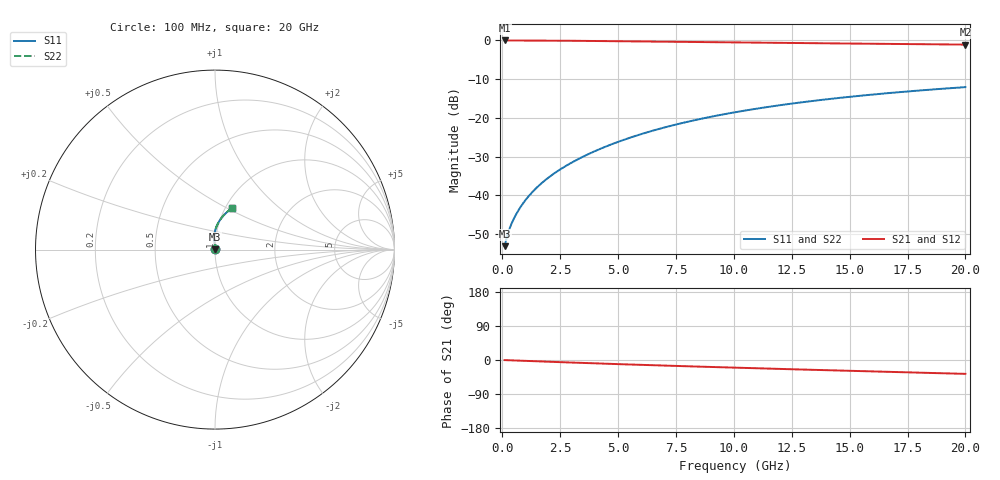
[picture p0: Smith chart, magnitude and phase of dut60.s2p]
! Touchstone file exported from HFSS 2024.1.0
!  File:  C:/UserFiles/LocalFiles/RDL_TSV_Batchsim/temp_RDL_bottom_60_1778693358.aedt
!  Generated:  01:31:47 AM May 14, 2026
!  Design:  RDL_bottom
!  Project:  temp_RDL_bottom_60_1778693358
!  Setup:  Setup1
!  Solution:  Sweep
! Variables:
!  dtsv = 10.80580581um
!  hbump = 3um
!  htsv = 70.57um
!  ldown = 581.9um
!  lrdl = 100um
!  p = 40
!  p1 = 46.62um
!  rhole = 1um
!  t = 450um
!  tdown = 4.29um
!  trdl = 3.915915916um
!  wdown = 28.77um
!  wrdl = 20um
# GHz S MA R 50.000000
! Terminal data exported
! Port[1] = RDL1_T1
! Port[2] = RDL1_T2
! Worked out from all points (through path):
!   200 points, 100 MHz to 20 GHz, reference 50 ohm
!   highest |S21| = -0.02 dB at 100 MHz (marker M1); lowest = -1.1 dB at 20 GHz (marker M2)
!   group delay of S21, straight-line fit = 4.99 ps
!   lowest |S11| = -53.1 dB at 100 MHz (marker M3), VSWR 1.00, Z = 50.2 + j0.108 ohm
!   |S11| at or under -10 dB: start of sweep to end of sweep
!   |S22| runs from -53.1 to -12.1 dB; largest |S21 - S12| = 2e-15
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0.1  0.002203 29.2  0.9981 -0.2  0.9981 -0.2  0.002203 29.2
! Gamma 0 0 0 0
! Port Impedance 50 0 50 0
0.2  0.00291 43.8  0.9978 -0.5  0.9978 -0.5  0.00291 43.8
0.3  0.003621 51.7  0.9976 -0.7  0.9976 -0.7  0.003621 51.7
0.4  0.00431 57.4  0.9974 -0.9  0.9974 -0.9  0.00431 57.4
0.5  0.004997 61.8  0.9972 -1.2  0.9972 -1.2  0.004997 61.8
0.8  0.007144 71.3  0.9967 -1.8  0.9967 -1.8  0.007144 71.3
1  0.008656 75.5  0.9963 -2.3  0.9963 -2.3  0.008656 75.6
1.2  0.01022 78.8  0.9958 -2.8  0.9958 -2.8  0.01022 78.8
1.7  0.01435 84.4  0.9943 -3.9  0.9943 -3.9  0.01435 84.4
2.2  0.01878 88.0  0.9924 -5.0  0.9924 -5.0  0.01878 88.0
2.8  0.02447 90.8  0.9895 -6.3  0.9895 -6.3  0.02447 90.9
3.5  0.03166 92.9  0.9856 -7.8  0.9856 -7.8  0.03167 92.9
4.2  0.03943 94.0  0.9813 -9.3  0.9813 -9.3  0.03944 94.1
5  0.04896 94.5  0.9759 -10.9  0.9759 -10.9  0.04896 94.5
5.9  0.06037 94.2  0.9697 -12.7  0.9697 -12.7  0.06037 94.2
6.8  0.07235 93.3  0.9633 -14.4  0.9633 -14.4  0.07237 93.4
8.4  0.09458 90.9  0.9521 -17.3  0.9521 -17.3  0.09461 90.9
10.1  0.1188 87.7  0.9407 -20.3  0.9407 -20.3  0.1188 87.7
11.7  0.1415 84.4  0.9305 -23.1  0.9305 -23.1  0.1416 84.4
13.4  0.1652 80.8  0.9201 -25.9  0.9201 -25.9  0.1653 80.8
16.7  0.209 73.9  0.9008 -31.3  0.9008 -31.3  0.2091 74.0
20  0.2492 67.4  0.8825 -36.6  0.8825 -36.6  0.2494 67.5
